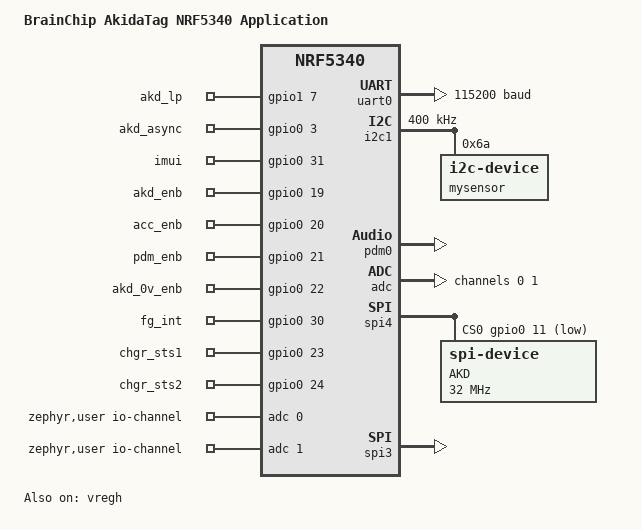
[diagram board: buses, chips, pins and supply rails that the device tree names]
/*
 * Copyright (c) 2019-2020 Nordic Semiconductor ASA
 *
 * SPDX-License-Identifier: Apache-2.0
 */

/dts-v1/;
#include <nordic/nrf5340_cpuapp_qkaa.dtsi>
#include "akidatag_nrf5340_cpuapp-pinctrl.dtsi"

/ {
	model = "BrainChip AkidaTag NRF5340 Application";
	compatible = "brainchip,akidatag-nrf5340-cpuapp";

	chosen {
		zephyr,console = &uart0;
		zephyr,shell-uart = &uart0;
		zephyr,uart-mcumgr = &uart0;
		zephyr,bt-mon-uart = &uart0;
		zephyr,bt-c2h-uart = &uart0;
		zephyr,bt-hci = &bt_hci_ipc0;
		zephyr,sram = &sram0_image;
		zephyr,flash = &flash0;
		zephyr,code-partition = &slot0_partition;
	};

	/* Power enables and status lines that are not a bus of their own. */
	gpios {
		compatible = "gpio-keys";

		akd_lp: akd_lp {
			gpios = <&gpio1 7 GPIO_ACTIVE_HIGH>;
		};

		akd_async: akd_async {
			gpios = <&gpio0 3 GPIO_ACTIVE_HIGH>;
		};

		imui: imui {
			gpios = <&gpio0 31 GPIO_ACTIVE_HIGH>;
		};

		akd_enb: akd_enb {
			gpios = <&gpio0 19 GPIO_ACTIVE_HIGH>;
		};

		acc_enb: acc_enb {
			gpios = <&gpio0 20 GPIO_ACTIVE_HIGH>;
		};

		pdm_enb: pdm_enb {
			gpios = <&gpio0 21 GPIO_ACTIVE_HIGH>;
		};

		akd_0v_enb: akd_0v_enb {
			gpios = <&gpio0 22 GPIO_ACTIVE_HIGH>;
		};

		fg_int: fg_int {
			gpios = <&gpio0 30 GPIO_ACTIVE_HIGH>;
		};

		chgr_sts1: chgr_sts1 {
			gpios = <&gpio0 23 GPIO_ACTIVE_HIGH>;
		};

		chgr_sts2: chgr_sts2 {
			gpios = <&gpio0 24 GPIO_ACTIVE_HIGH>;
		};
	};

	zephyr,user {
		/* Current-sense amplifier outputs: index 0 is the 1.8 V rail, 1 the 0.8 V rail. */
		io-channels = <&adc 0>, <&adc 1>;
	};

	aliases {
		akd-lp = &akd_lp;
		spi2 = &spi2;
		akd-spi = &spi4;
		imui = &imui;
		akd-enb = &akd_enb;
		acc-enb = &acc_enb;
		pdm-enb = &pdm_enb;
		akd-0v-enb = &akd_0v_enb;
		akd-async = &akd_async;
		fg-int = &fg_int;
		chgr-sts1 = &chgr_sts1;
		chgr-sts2 = &chgr_sts2;
		watchdog = &wdt;
		watchdog0 = &wdt0;
	};
};

&vregmain {
	regulator-initial-mode = <NRF5X_REG_MODE_DCDC>;
};

&vregradio {
	regulator-initial-mode = <NRF5X_REG_MODE_DCDC>;
};

&vregh {
	status = "okay";
};

&lfxo {
	load-capacitors = "internal";
	load-capacitance-picofarad = <7>;
};

/* P0.02 and P0.03 are AKD1500 GPIOs, so the NFC antenna function is released. */
&uicr {
	nfct-pins-as-gpios;
};

&clock {
	hfclkaudio-frequency = <12288000>;
};

&gpiote {
	status = "okay";
};

&gpio0 {
	status = "okay";
};

&gpio1 {
	status = "okay";
};

&ipc0 {
	status = "okay";
};

&uart0 {
	compatible = "nordic,nrf-uarte";
	status = "okay";
	current-speed = <115200>;
	pinctrl-0 = <&uart0_default>;
	pinctrl-1 = <&uart0_sleep>;
	pinctrl-names = "default", "sleep";
};

&i2c1 {
	compatible = "nordic,nrf-twim";
	status = "okay";
	clock-frequency = <I2C_BITRATE_FAST>;
	pinctrl-0 = <&i2c1_default>;
	pinctrl-1 = <&i2c1_sleep>;
	pinctrl-names = "default", "sleep";

	mysensor: mysensor@6a {
		compatible = "i2c-device";
		status = "okay";
		reg = <0x6a>;
	};
};

dmic_dev: &pdm0 {
	status = "okay";
	pinctrl-0 = <&pdm0_default>;
	pinctrl-names = "default";
	clock-source = "ACLK";
};

&adc {
	status = "okay";
	#address-cells = <1>;
	#size-cells = <0>;

	/* 1.8 V rail current, AIN0 on P0.04 */
	channel@0 {
		reg = <0>;
		zephyr,gain = "ADC_GAIN_1_3";
		zephyr,reference = "ADC_REF_INTERNAL";
		zephyr,acquisition-time = <ADC_ACQ_TIME_DEFAULT>;
		zephyr,input-positive = <NRF_SAADC_AIN0>;
		zephyr,resolution = <12>;
	};

	/* 0.8 V rail current, AIN1 on P0.05 */
	channel@1 {
		reg = <1>;
		zephyr,gain = "ADC_GAIN_1_3";
		zephyr,reference = "ADC_REF_INTERNAL";
		zephyr,acquisition-time = <ADC_ACQ_TIME_DEFAULT>;
		zephyr,input-positive = <NRF_SAADC_AIN1>;
		zephyr,resolution = <12>;
	};
};

/* AKD1500 host interface. SPIM4 is the only instance that runs above 8 MHz. */
&spi4 {
	compatible = "nordic,nrf-spim";
	status = "okay";
	pinctrl-0 = <&spi4_default>;
	pinctrl-1 = <&spi4_sleep>;
	pinctrl-names = "default", "sleep";
	/* MISO sample delay that reads cleanly at 8, 16 and 32 MHz; `spi_rxdelay`
	 * overrides it at runtime.
	 */
	rx-delay = <1>;
	cs-gpios = <&gpio0 11 GPIO_ACTIVE_LOW>,
		   <&gpio0 12 GPIO_ACTIVE_LOW>;

	akd: akd@0 {
		compatible = "spi-device";
		reg = <0>;
		spi-max-frequency = <32000000>;
		label = "AKD";
	};

	/* akd_flash@1, the AKD1500's model flash reached through its slave-to-master
	 * feed-through, is defined per revision.
	 */
};

/* Flash IC1: the MCUboot update slot and the LittleFS volume. */
&spi3 {
	compatible = "nordic,nrf-spim";
	status = "okay";
	pinctrl-0 = <&spi3_default>;
	pinctrl-1 = <&spi3_sleep>;
	pinctrl-names = "default", "sleep";
};

#include <nordic/nrf5340_cpuapp_partition.dtsi>
